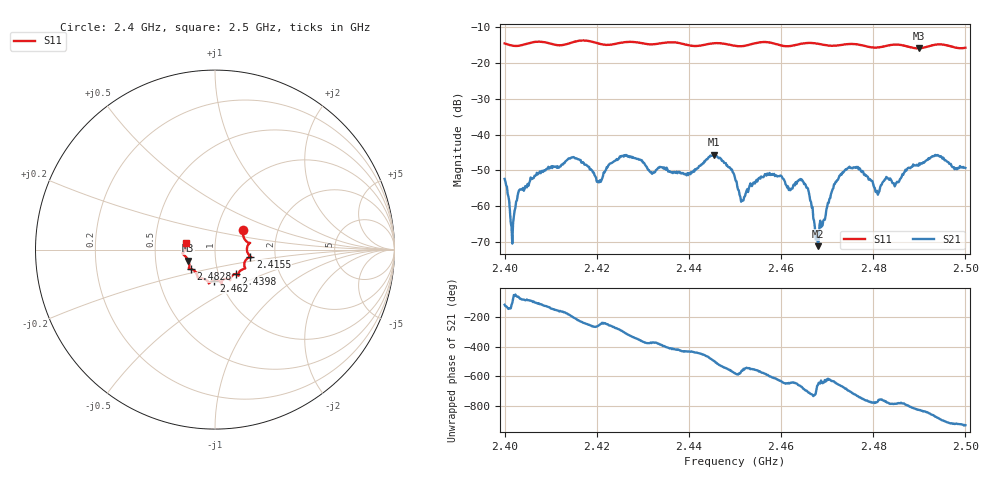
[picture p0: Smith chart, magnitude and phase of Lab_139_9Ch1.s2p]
# Hz S RI R 50
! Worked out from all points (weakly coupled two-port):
!   601 points, 2.4 GHz to 2.5 GHz, reference 50 ohm
!   highest |S21| = -45.61 dB at 2.4455 GHz (marker M1); lowest = -71.2 dB at 2.468 GHz (marker M2)
!   lowest |S11| = -15.9 dB at 2.4898 GHz (marker M3), VSWR 1.38, Z = 36.8 - j4.64 ohm
!   |S11| at or under -10 dB: start of sweep to end of sweep
!   S12 and S22 are empty: the file has one direction only
!   S11 on the Smith chart (normalised r, x): 2.4 GHz: 1.33, +0.29; 2.4155 GHz: 1.49, -0.12; 2.4398 GHz: 1.21, -0.34; 2.462 GHz: 0.93, -0.33; 2.4828 GHz: 0.74, -0.17; 2.5 GHz: 0.72, +0.06
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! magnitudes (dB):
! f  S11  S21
! 2.4 GHz  -14.5  -52.4
! 2.4017 GHz  -15.1  -70.5
! 2.4035 GHz  -15.0  -55.3
! 2.4155 GHz  -13.9  -46.6
! 2.4167 GHz  -13.7  -47.9
! 2.4205 GHz  -14.6  -53.3
! 2.4258 GHz  -14.2  -46.2
! 2.4333 GHz  -14.6  -49.3
! 2.4398 GHz  -15.0  -51.3
! 2.4455 GHz  -14.4  -45.6
! 2.45 GHz  -15.2  -52.2
! 2.4517 GHz  -15.3  -58.5
! 2.457 GHz  -14.1  -50.9
! 2.462 GHz  -15.2  -55.6
! 2.4647 GHz  -14.5  -52.9
! 2.4667 GHz  -14.4  -60.4
! 2.468 GHz  -14.6  -71.2
! 2.4743 GHz  -14.7  -49.5
! 2.4828 GHz  -15.2  -51.8
! 2.4833 GHz  -15.0  -52.4
! 2.4898 GHz  -15.9  -48.7
! 2.5 GHz  -15.7  -49.3
